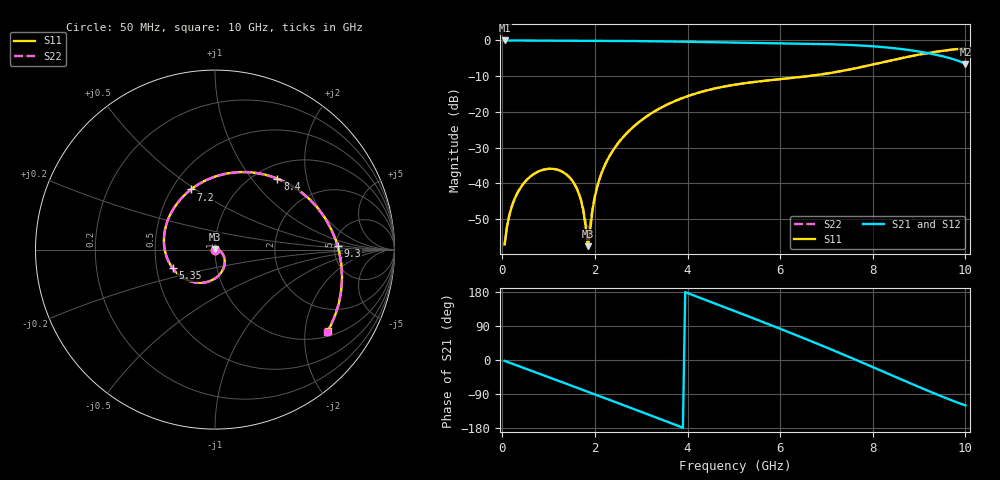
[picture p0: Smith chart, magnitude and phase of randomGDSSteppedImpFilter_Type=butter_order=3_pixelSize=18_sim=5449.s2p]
! freq	dB(S11)	phase(S11)	dB(S12)	phase(S12)
!  dB(S21)	phase(S21)	dB(S22)	phase(S22)
!S-par simulation data
#  GHz  S  DB  R 50
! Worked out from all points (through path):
!   200 points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, 50 MHz to 10 GHz, reference 50 ohm
!   highest |S21| = 0.00 dB at 50 MHz (marker M1); lowest = -6.5 dB at 10 GHz (marker M2)
!   group delay of S21, straight-line fit = 134 ps
!   lowest |S11| = -57.6 dB at 1.85 GHz (marker M3), VSWR 1.00, Z = 50 + j0.128 ohm
!   |S11| at or under -10 dB: start of sweep to 6.6 GHz
!   |S22| runs from -57.1 to -2.2 dB; largest |S21 - S12| = 0
!   S11 on the Smith chart (normalised r, x): 50 MHz: 1.00, -0.00; 5.35 GHz: 0.61, -0.13; 7.2 GHz: 0.62, +0.48; 8.4 GHz: 1.24, +1.36; 9.3 GHz: 5.30, +0.37; 10 GHz: 1.17, -2.64
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0.05  -57.11 -77.2  -0.00 -2.3  -0.00 -2.3  -57.13 -76.8
0.15  -48.99 -89.8  -0.01 -6.9  -0.01 -6.9  -49.00 -89.8
0.3  -43.36 -100.9  -0.02 -13.7  -0.02 -13.7  -43.36 -101.0
0.8  -36.55 -127.5  -0.05 -36.3  -0.05 -36.3  -36.55 -127.9
1.4  -37.67 -157.8  -0.07 -63.5  -0.07 -63.5  -37.66 -159.2
1.75  -47.63 173.0  -0.09 -79.4  -0.09 -79.4  -47.29 166.9
1.85  -57.56 104.9  -0.09 -83.9  -0.09 -83.9  -54.68 102.1
2  -43.66 11.1  -0.10 -90.8  -0.10 -90.8  -43.45 16.2
2.25  -33.97 -8.3  -0.12 -102.2  -0.12 -102.2  -33.94 -6.1
2.7  -25.78 -31.4  -0.16 -122.9  -0.16 -122.9  -25.77 -30.3
3.4  -19.01 -64.8  -0.25 -155.4  -0.25 -155.4  -19.01 -64.1
4.2  -14.76 -102.3  -0.41 167.4  -0.41 167.4  -14.75 -101.7
5.05  -12.32 -142.2  -0.60 127.6  -0.60 127.6  -12.32 -141.8
5.35  -11.77 -156.4  -0.66 113.4  -0.66 113.4  -11.77 -156.0
6  -10.84 172.2  -0.79 82.4  -0.79 82.4  -10.84 172.5
6.7  -9.84 137.3  -0.94 48.1  -0.94 48.1  -9.84 137.5
7.2  -8.85 111.7  -1.11 22.9  -1.11 22.9  -8.86 111.7
7.75  -7.45 83.0  -1.42 -5.6  -1.42 -5.6  -7.45 82.8
8.35  -5.71 51.3  -2.02 -37.2  -2.02 -37.2  -5.71 51.0
8.4  -5.56 48.6  -2.09 -39.9  -2.09 -39.9  -5.56 48.4
9.3  -3.30 1.6  -3.83 -86.7  -3.83 -86.7  -3.30 1.2
10  -2.22 -35.7  -6.55 -119.8  -6.55 -119.8  -2.23 -36.2
